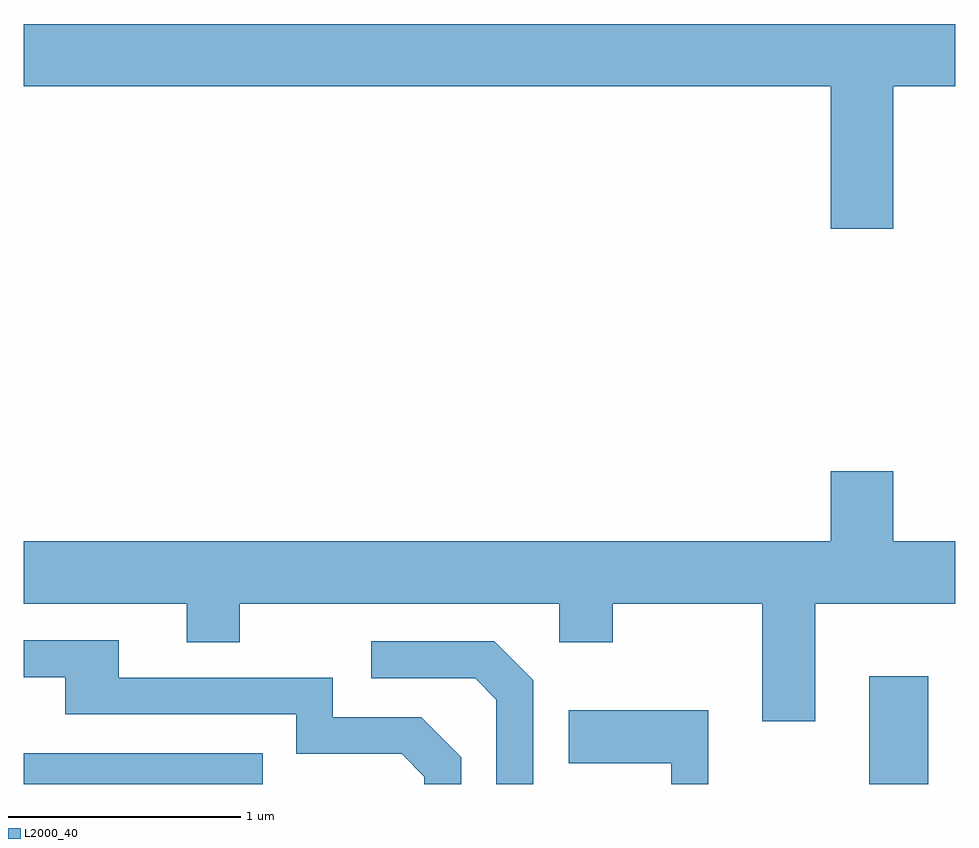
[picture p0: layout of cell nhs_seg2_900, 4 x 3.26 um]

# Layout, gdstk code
import gdstk
lib = gdstk.Library(unit=1e-6, precision=1e-09)
def R(c, l, rs):  # rectangles x0, y0, x1, y1
    for r in rs: c.add(gdstk.rectangle(r[:2], r[2:], *l))
def P(c, l, *ps):  # polygons
    for p in ps: c.add(gdstk.Polygon(p, *l))
L2000_40 = (2000, 40)

nhs_seg2_900 = lib.new_cell('nhs_seg2_900')
R(nhs_seg2_900, L2000_40, [(211.611,1009.802,212.638,1009.934), (215.241,1009.802,215.494,1010.264)])
P(nhs_seg2_900, L2000_40, [(215.344,1012.796),(215.611,1012.796),(215.611,1013.064),(211.611,1013.064),(211.611,1012.796),(215.076,1012.796),(215.076,1012.186),(215.344,1012.186)],
  [(215.009,1010.576),(215.611,1010.576),(215.611,1010.844),(215.344,1010.844),(215.344,1011.144),(215.076,1011.144),(215.076,1010.844),(211.611,1010.844),(211.611,1010.576),(212.311,1010.576),(212.311,1010.411),(212.539,1010.411),(212.539,1010.576),(213.911,1010.576),(213.911,1010.411),(214.139,1010.411),(214.139,1010.576),(214.781,1010.576),(214.781,1010.071),(215.009,1010.071)],
  [(213.489,1009.917),(213.317,1010.089),(212.939,1010.089),(212.939,1010.259),(212.019,1010.259),(212.019,1010.419),(211.611,1010.419),(211.611,1010.261),(211.791,1010.261),(211.791,1010.101),(212.781,1010.101),(212.781,1009.931),(213.234,1009.931),(213.331,1009.834),(213.331,1009.802),(213.489,1009.802)],
  [(213.799,1010.247),(213.632,1010.414),(213.103,1010.414),(213.103,1010.256),(213.549,1010.256),(213.641,1010.164),(213.641,1009.802),(213.799,1009.802)],
  [(214.549,1010.119),(213.951,1010.119),(213.951,1009.891),(214.391,1009.891),(214.391,1009.802),(214.549,1009.802)])

lib.write_gds('nhs_seg2_900.gds')
